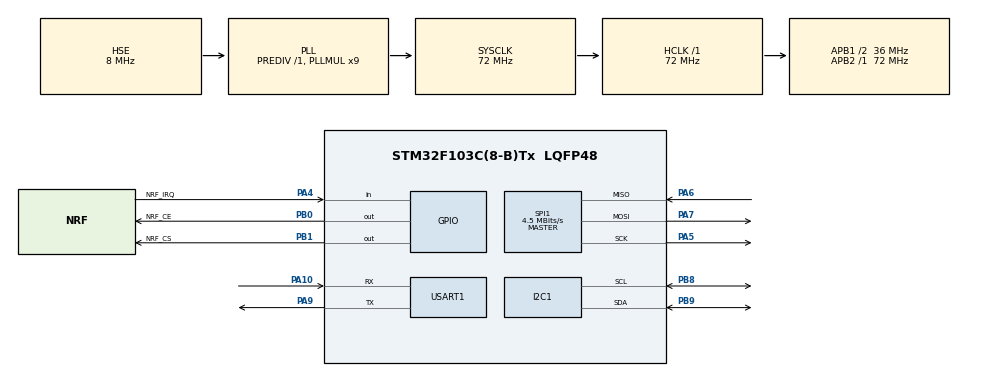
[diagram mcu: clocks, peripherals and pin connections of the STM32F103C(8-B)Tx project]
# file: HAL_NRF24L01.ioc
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Mcu.Family=STM32F1
Mcu.Name=STM32F103C(8-B)Tx
Mcu.Package=LQFP48
NVIC.PriorityGroup=NVIC_PRIORITYGROUP_4
PA10.Mode=Asynchronous
PA10.Signal=USART1_RX
PA13.Mode=Serial_Wire
PA13.Signal=SYS_JTMS-SWDIO
PA14.Mode=Serial_Wire
PA14.Signal=SYS_JTCK-SWCLK
PA4.GPIO_Label=NRF_IRQ
PA4.GPIO_PuPd=GPIO_PULLUP
PA4.Signal=GPIO_Input
PA5.Mode=Full_Duplex_Master
PA5.Signal=SPI1_SCK
PA6.Mode=Full_Duplex_Master
PA6.Signal=SPI1_MISO
PA7.Mode=Full_Duplex_Master
PA7.Signal=SPI1_MOSI
PA9.Mode=Asynchronous
PA9.Signal=USART1_TX
PB0.GPIO_Label=NRF_CE
PB0.GPIO_PuPd=GPIO_PULLUP
PB0.GPIO_Speed=GPIO_SPEED_FREQ_HIGH
PB0.PinState=GPIO_PIN_RESET
PB0.Signal=GPIO_Output
PB1.GPIO_Label=NRF_CS
PB1.GPIO_PuPd=GPIO_PULLUP
PB1.GPIO_Speed=GPIO_SPEED_FREQ_HIGH
PB1.PinState=GPIO_PIN_SET
PB1.Signal=GPIO_Output
PB8.Mode=I2C
PB8.Signal=I2C1_SCL
PB9.Mode=I2C
PB9.Signal=I2C1_SDA
PD0-OSC_IN.Mode=HSE-External-Oscillator
PD0-OSC_IN.Signal=RCC_OSC_IN
PD1-OSC_OUT.Mode=HSE-External-Oscillator
PD1-OSC_OUT.Signal=RCC_OSC_OUT
ProjectManager.HeapSize=0x200
ProjectManager.StackSize=0x400
ProjectManager.TargetToolchain=MDK-ARM V5.32
RCC.AHBFreq_Value=72000000
RCC.APB1CLKDivider=RCC_HCLK_DIV2
RCC.APB1Freq_Value=36000000
RCC.APB1TimFreq_Value=72000000
RCC.APB2Freq_Value=72000000
RCC.APB2TimFreq_Value=72000000
RCC.HCLKFreq_Value=72000000
RCC.PLLMUL=RCC_PLL_MUL9
RCC.PLLSourceVirtual=RCC_PLLSOURCE_HSE
RCC.SYSCLKFreq_VALUE=72000000
RCC.SYSCLKSource=RCC_SYSCLKSOURCE_PLLCLK
RCC.USBFreq_Value=72000000
SPI1.BaudRatePrescaler=SPI_BAUDRATEPRESCALER_16
SPI1.CalculateBaudRate=4.5 MBits/s
SPI1.Direction=SPI_DIRECTION_2LINES
SPI1.Mode=SPI_MODE_MASTER
SPI1.VirtualType=VM_MASTER
USART1.VirtualMode=VM_ASYNC
board=custom

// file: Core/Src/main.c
/* USER CODE BEGIN Header */
/**
  ******************************************************************************
  * @file           : main.c
  * @brief          : Main program body
  ******************************************************************************
  * @attention
  *
  * Copyright (c) 2024 STMicroelectronics.
  * All rights reserved.
  *
  * This software is licensed under terms that can be found in the LICENSE file
  * in the root directory of this software component.
  * If no LICENSE file comes with this software, it is provided AS-IS.
  *
  ******************************************************************************
  */
/* USER CODE END Header */
#include "main.h"
#include "i2c.h"
#include "spi.h"
#include "usart.h"
#include "gpio.h"

/* USER CODE BEGIN Includes */

#include "stdio.h"
#include "nrf24L01.h"
#include "oled.h"
#include "stdio.h"
/* USER CODE END Includes */

/* USER CODE BEGIN PV */
uint16_t temp_test=0;
uint8_t tmp_buf[5];

/* USER CODE END PV */

void SystemClock_Config(void);

/* USER CODE BEGIN 0 */
/*********************************************************
*
*重定义 fputc 函数
*
*********************************************************/
int fputc(int ch,FILE *f)
{
	HAL_UART_Transmit (&huart1 ,(uint8_t *)&ch,1,HAL_MAX_DELAY );
	return ch;
}

/* USER CODE END 0 */

int main(void)
{

  /* USER CODE BEGIN 1 */

   uint8_t Send_Out[33]="6 ";   //要发送的内容(单次最多32个字节)
  /* USER CODE END 1 */

  /* MCU Configuration--------------------------------------------------------*/

  /* Reset of all peripherals, Initializes the Flash interface and the Systick. */
  HAL_Init();

  /* Configure the system clock */
  SystemClock_Config();

  /* Initialize all configured peripherals */
  MX_GPIO_Init();
  MX_SPI1_Init();
  MX_I2C1_Init();
  MX_USART1_UART_Init();
  /* USER CODE BEGIN 2 */
	while(NRF24L01_Check())
	{
		printf("检测不到NRF24L01无线模块，请检查硬件连接\r\n");
 		HAL_Delay(1000);

	}

	NRF24L01_TX_Mode();//设置为发送模式

  /* USER CODE END 2 */

  /* Infinite loop */
  /* USER CODE BEGIN WHILE */
  while (1)
  {
		HAL_Delay(1000);

  NRF24L01_TxPacket(Send_Out);

    /* USER CODE END WHILE */

  }
}

void SystemClock_Config(void)
{
  RCC_OscInitTypeDef RCC_OscInitStruct = {0};
  RCC_ClkInitTypeDef RCC_ClkInitStruct = {0};

  /** Initializes the RCC Oscillators according to the specified parameters
  * in the RCC_OscInitTypeDef structure.
  */
  RCC_OscInitStruct.OscillatorType = RCC_OSCILLATORTYPE_HSE;
  RCC_OscInitStruct.HSEState = RCC_HSE_ON;
  RCC_OscInitStruct.HSEPredivValue = RCC_HSE_PREDIV_DIV1;
  RCC_OscInitStruct.HSIState = RCC_HSI_ON;
  RCC_OscInitStruct.PLL.PLLState = RCC_PLL_ON;
  RCC_OscInitStruct.PLL.PLLSource = RCC_PLLSOURCE_HSE;
  RCC_OscInitStruct.PLL.PLLMUL = RCC_PLL_MUL9;
  if (HAL_RCC_OscConfig(&RCC_OscInitStruct) != HAL_OK)
  {
    Error_Handler();
  }

  /** Initializes the CPU, AHB and APB buses clocks
  */
  RCC_ClkInitStruct.ClockType = RCC_CLOCKTYPE_HCLK|RCC_CLOCKTYPE_SYSCLK
                              |RCC_CLOCKTYPE_PCLK1|RCC_CLOCKTYPE_PCLK2;
  RCC_ClkInitStruct.SYSCLKSource = RCC_SYSCLKSOURCE_PLLCLK;
  RCC_ClkInitStruct.AHBCLKDivider = RCC_SYSCLK_DIV1;
  RCC_ClkInitStruct.APB1CLKDivider = RCC_HCLK_DIV2;
  RCC_ClkInitStruct.APB2CLKDivider = RCC_HCLK_DIV1;

  if (HAL_RCC_ClockConfig(&RCC_ClkInitStruct, FLASH_LATENCY_2) != HAL_OK)
  {
    Error_Handler();
  }
}

void Error_Handler(void)
{
  __disable_irq();
  while (1)
  {
  }
}
